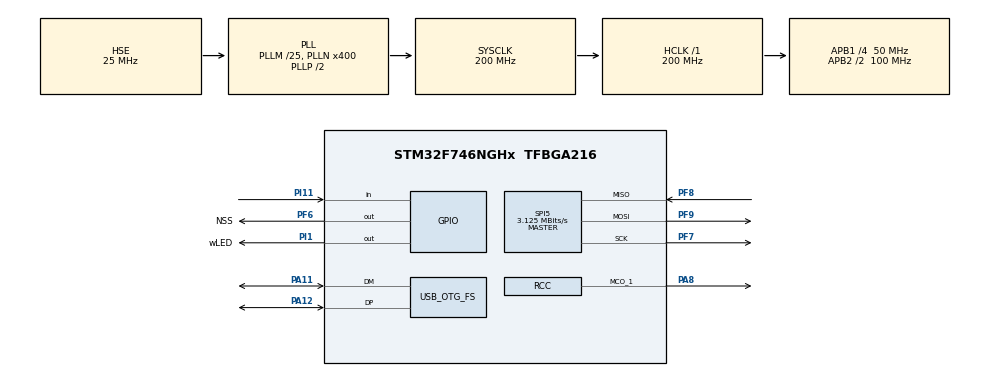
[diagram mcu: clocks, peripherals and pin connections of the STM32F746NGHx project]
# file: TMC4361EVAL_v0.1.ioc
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FREERTOS.Tasks01=defaultTask,0,128,StartDefaultTask,Default,NULL,Dynamic,NULL,NULL
Mcu.Family=STM32F7
Mcu.Name=STM32F746NGHx
Mcu.Package=TFBGA216
NVIC.OTG_FS_IRQn=true\:5\:0\:false\:false\:true\:true\:true\:true
NVIC.PriorityGroup=NVIC_PRIORITYGROUP_4
NVIC.TIM2_IRQn=true\:0\:0\:false\:false\:true\:false\:false\:true
NVIC.TimeBase=TIM2_IRQn
NVIC.TimeBaseIP=TIM2
PA11.Mode=Device_Only
PA11.Signal=USB_OTG_FS_DM
PA12.Mode=Device_Only
PA12.Signal=USB_OTG_FS_DP
PA8.Mode=Clock-out-1
PA8.Signal=RCC_MCO_1
PC14/OSC32_IN.Mode=LSE-External-Oscillator
PC14/OSC32_IN.Signal=RCC_OSC32_IN
PC15/OSC32_OUT.Mode=LSE-External-Oscillator
PC15/OSC32_OUT.Signal=RCC_OSC32_OUT
PF6.GPIO_Label=NSS
PF6.PinState=GPIO_PIN_SET
PF6.Signal=GPIO_Output
PF7.Mode=Full_Duplex_Master
PF7.Signal=SPI5_SCK
PF8.Mode=Full_Duplex_Master
PF8.Signal=SPI5_MISO
PF9.Mode=Full_Duplex_Master
PF9.Signal=SPI5_MOSI
PH0/OSC_IN.Mode=HSE-External-Oscillator
PH0/OSC_IN.Signal=RCC_OSC_IN
PH1/OSC_OUT.Mode=HSE-External-Oscillator
PH1/OSC_OUT.Signal=RCC_OSC_OUT
PI1.GPIO_Label=wLED
PI1.Signal=GPIO_Output
PI11.Signal=GPIO_Input
ProjectManager.HeapSize=0x2000
ProjectManager.StackSize=0x4000
ProjectManager.TargetToolchain=MDK-ARM V5
RCC.AHBFreq_Value=200000000
RCC.APB1CLKDivider=RCC_HCLK_DIV4
RCC.APB1Freq_Value=50000000
RCC.APB1TimFreq_Value=100000000
RCC.APB2CLKDivider=RCC_HCLK_DIV2
RCC.APB2Freq_Value=100000000
RCC.APB2TimFreq_Value=200000000
RCC.CortexFreq_Value=200000000
RCC.HCLKFreq_Value=200000000
RCC.HSE_VALUE=25000000
RCC.HSI_VALUE=16000000
RCC.PLL48CLockSelection=RCC_CLK48SOURCE_PLLSAIP
RCC.PLLI2SN=100
RCC.PLLM=25
RCC.PLLN=400
RCC.PLLQ=9
RCC.PLLSAIN=384
RCC.PLLSAIP=RCC_PLLSAIP_DIV8
RCC.PLLSAIR=5
RCC.PLLSAIRDiv=RCC_PLLSAIDIVR_8
RCC.SDMMCClockSelection=RCC_SDMMC1CLKSOURCE_CLK48
RCC.SYSCLKFreq_VALUE=200000000
RCC.SYSCLKSource=RCC_SYSCLKSOURCE_PLLCLK
RCC.USBFreq_Value=48000000
RCC.VCOOutputFreq_Value=400000000
SPI5.BaudRatePrescaler=SPI_BAUDRATEPRESCALER_32
SPI5.CalculateBaudRate=3.125 MBits/s
SPI5.DataSize=SPI_DATASIZE_8BIT
SPI5.Direction=SPI_DIRECTION_2LINES
SPI5.Mode=SPI_MODE_MASTER
SPI5.NSSPMode=SPI_NSS_PULSE_DISABLE
SPI5.VirtualType=VM_MASTER
USB_DEVICE.CLASS_NAME_FS=CDC
USB_DEVICE.VirtualMode-CDC_FS=Cdc
USB_DEVICE.VirtualModeFS=Cdc_FS
USB_OTG_FS.VirtualMode=Device_Only
VP_FREERTOS_VS_CMSIS_V1.Mode=CMSIS_V1
VP_SYS_VS_tim2.Mode=TIM2
VP_USB_DEVICE_VS_USB_DEVICE_CDC_FS.Mode=CDC_FS
board=STM32F746G-DISCO

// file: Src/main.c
/* USER CODE BEGIN Header */
/**
  ******************************************************************************
  * @file           : main.c
  * @brief          : Main program body
  ******************************************************************************
  * @attention
  *
  * <h2><center>&copy; Copyright (c) 2020 STMicroelectronics.
  * All rights reserved.</center></h2>
  *
  * This software component is licensed by ST under Ultimate Liberty license
  * SLA0044, the "License"; You may not use this file except in compliance with
  * the License. You may obtain a copy of the License at:
  *                             www.st.com/SLA0044
  *
  ******************************************************************************
  */
/* USER CODE END Header */

#include "main.h"
#include "cmsis_os.h"
#include "usb_device.h"

/* USER CODE BEGIN Includes */
#include "vTask_List.h"
/* USER CODE END Includes */

SPI_HandleTypeDef hspi5;

osThreadId defaultTaskHandle;
/* USER CODE BEGIN PV */
	uint8_t wTask_buff[48];
	uint8_t wCommand_buff [48];
	uint8_t wCommand_Task_buff [48];
	uint16_t wBufCount = 0;
  char wCnvt[48];

	//spi buffer
	uint8_t wTxData[5];
	uint8_t wRxData[5];

	//RTOS based variables
	QueueHandle_t xQueue1,xQueue2,xQueue3;
	TaskHandle_t wTask_LEDxHandle = NULL;
	TaskHandle_t wTask_USB_FSxHandle = NULL;
	TaskHandle_t wTask_MotorCtrHandle = NULL;
	TaskHandle_t wTask_CmdHandle_ = NULL;
	SemaphoreHandle_t xSemaphore;

/* USER CODE END PV */

void SystemClock_Config(void);
static void MX_GPIO_Init(void);
static void MX_SPI5_Init(void);
void StartDefaultTask(void const * argument);

int main(void)
{
  /* USER CODE BEGIN 1 */
	wTxData[0]=0x21;
	wTxData[1]=0x00;
	wTxData[2]=0x00;
	wTxData[3]=0x00;
	wTxData[4]=0x00;

  /* USER CODE END 1 */

  /* MCU Configuration--------------------------------------------------------*/

  /* Reset of all peripherals, Initializes the Flash interface and the Systick. */
  HAL_Init();

  /* Configure the system clock */
  SystemClock_Config();

  /* Initialize all configured peripherals */
  MX_GPIO_Init();
  MX_SPI5_Init();

  /* USER CODE BEGIN RTOS_SEMAPHORES */
  /* add semaphores, ... */
	   xSemaphore = xSemaphoreCreateMutex();

   if( xSemaphore == NULL )
   {
     		while(1)  // do not proceed
		{}
   }
  /* USER CODE END RTOS_SEMAPHORES */

  /* USER CODE BEGIN RTOS_QUEUES */
  /* add queues, ... */

	xQueue1 = xQueueCreate( 10, sizeof( wTask_buff) );

	if(xQueue1 == NULL)
	{
		while(1)  // do not proceed
		{}
	}

		xQueue2 = xQueueCreate( 10, sizeof( wTask_buff) );

	if(xQueue1 == NULL)
	{
		while(1)  // do not proceed
		{}
	}
  /* USER CODE END RTOS_QUEUES */

  /* Create the thread(s) */
  /* definition and creation of defaultTask */
  osThreadDef(defaultTask, StartDefaultTask, osPriorityNormal, 0, 128);
  defaultTaskHandle = osThreadCreate(osThread(defaultTask), NULL);

  /* USER CODE BEGIN RTOS_THREADS */
  /* add threads, ... */
	xTaskCreate(wTask_LED,"Task_LED" ,128 , NULL,osPriorityLow,&wTask_LEDxHandle);
	xTaskCreate(wTask_USB_FS,"Task_Vcom",128,NULL,osPriorityAboveNormal,&wTask_USB_FSxHandle);
	xTaskCreate(wTask_MotorCtr,"Task_MotorCrl",256,NULL,osPriorityAboveNormal,&wTask_MotorCtrHandle);
	xTaskCreate(wTask_CmdHandle,"Task_CmdHandler",256,NULL,osPriorityAboveNormal,&wTask_CmdHandle_);
  /* USER CODE END RTOS_THREADS */

  /* Start scheduler */
  osKernelStart();

  /* We should never get here as control is now taken by the scheduler */
  /* Infinite loop */
  while (1)
  {

  }
}

void SystemClock_Config(void)
{
  RCC_OscInitTypeDef RCC_OscInitStruct = {0};
  RCC_ClkInitTypeDef RCC_ClkInitStruct = {0};
  RCC_PeriphCLKInitTypeDef PeriphClkInitStruct = {0};

  /** Configure LSE Drive Capability
  */
  HAL_PWR_EnableBkUpAccess();
  /** Configure the main internal regulator output voltage
  */
  __HAL_RCC_PWR_CLK_ENABLE();
  __HAL_PWR_VOLTAGESCALING_CONFIG(PWR_REGULATOR_VOLTAGE_SCALE1);
  /** Initializes the CPU, AHB and APB busses clocks
  */
  RCC_OscInitStruct.OscillatorType = RCC_OSCILLATORTYPE_HSI|RCC_OSCILLATORTYPE_HSE;
  RCC_OscInitStruct.HSEState = RCC_HSE_ON;
  RCC_OscInitStruct.HSIState = RCC_HSI_ON;
  RCC_OscInitStruct.HSICalibrationValue = RCC_HSICALIBRATION_DEFAULT;
  RCC_OscInitStruct.PLL.PLLState = RCC_PLL_ON;
  RCC_OscInitStruct.PLL.PLLSource = RCC_PLLSOURCE_HSE;
  RCC_OscInitStruct.PLL.PLLM = 25;
  RCC_OscInitStruct.PLL.PLLN = 400;
  RCC_OscInitStruct.PLL.PLLP = RCC_PLLP_DIV2;
  RCC_OscInitStruct.PLL.PLLQ = 9;
  if (HAL_RCC_OscConfig(&RCC_OscInitStruct) != HAL_OK)
  {
    Error_Handler();
  }
  /** Activate the Over-Drive mode
  */
  if (HAL_PWREx_EnableOverDrive() != HAL_OK)
  {
    Error_Handler();
  }
  /** Initializes the CPU, AHB and APB busses clocks
  */
  RCC_ClkInitStruct.ClockType = RCC_CLOCKTYPE_HCLK|RCC_CLOCKTYPE_SYSCLK
                              |RCC_CLOCKTYPE_PCLK1|RCC_CLOCKTYPE_PCLK2;
  RCC_ClkInitStruct.SYSCLKSource = RCC_SYSCLKSOURCE_PLLCLK;
  RCC_ClkInitStruct.AHBCLKDivider = RCC_SYSCLK_DIV1;
  RCC_ClkInitStruct.APB1CLKDivider = RCC_HCLK_DIV4;
  RCC_ClkInitStruct.APB2CLKDivider = RCC_HCLK_DIV2;

  if (HAL_RCC_ClockConfig(&RCC_ClkInitStruct, FLASH_LATENCY_6) != HAL_OK)
  {
    Error_Handler();
  }
  PeriphClkInitStruct.PeriphClockSelection = RCC_PERIPHCLK_CLK48;
  PeriphClkInitStruct.PLLSAI.PLLSAIN = 384;
  PeriphClkInitStruct.PLLSAI.PLLSAIR = 5;
  PeriphClkInitStruct.PLLSAI.PLLSAIQ = 2;
  PeriphClkInitStruct.PLLSAI.PLLSAIP = RCC_PLLSAIP_DIV8;
  PeriphClkInitStruct.PLLSAIDivQ = 1;
  PeriphClkInitStruct.PLLSAIDivR = RCC_PLLSAIDIVR_8;
  PeriphClkInitStruct.Clk48ClockSelection = RCC_CLK48SOURCE_PLLSAIP;
  if (HAL_RCCEx_PeriphCLKConfig(&PeriphClkInitStruct) != HAL_OK)
  {
    Error_Handler();
  }
  HAL_RCC_MCOConfig(RCC_MCO1, RCC_MCO1SOURCE_HSI, RCC_MCODIV_1);
}

static void MX_SPI5_Init(void)
{

  /* SPI5 parameter configuration*/
  hspi5.Instance = SPI5;
  hspi5.Init.Mode = SPI_MODE_MASTER;
  hspi5.Init.Direction = SPI_DIRECTION_2LINES;
  hspi5.Init.DataSize = SPI_DATASIZE_8BIT;
  hspi5.Init.CLKPolarity = SPI_POLARITY_LOW;
  hspi5.Init.CLKPhase = SPI_PHASE_1EDGE;
  hspi5.Init.NSS = SPI_NSS_SOFT;
  hspi5.Init.BaudRatePrescaler = SPI_BAUDRATEPRESCALER_32;
  hspi5.Init.FirstBit = SPI_FIRSTBIT_MSB;
  hspi5.Init.TIMode = SPI_TIMODE_DISABLE;
  hspi5.Init.CRCCalculation = SPI_CRCCALCULATION_DISABLE;
  hspi5.Init.CRCPolynomial = 7;
  hspi5.Init.CRCLength = SPI_CRC_LENGTH_DATASIZE;
  hspi5.Init.NSSPMode = SPI_NSS_PULSE_DISABLE;
  if (HAL_SPI_Init(&hspi5) != HAL_OK)
  {
    Error_Handler();
  }

}

static void MX_GPIO_Init(void)
{
  GPIO_InitTypeDef GPIO_InitStruct = {0};

  /* GPIO Ports Clock Enable */
  __HAL_RCC_GPIOA_CLK_ENABLE();
  __HAL_RCC_GPIOI_CLK_ENABLE();
  __HAL_RCC_GPIOC_CLK_ENABLE();
  __HAL_RCC_GPIOH_CLK_ENABLE();
  __HAL_RCC_GPIOF_CLK_ENABLE();

  /*Configure GPIO pin Output Level */
  HAL_GPIO_WritePin(wLED_GPIO_Port, wLED_Pin, GPIO_PIN_RESET);

  /*Configure GPIO pin Output Level */
  HAL_GPIO_WritePin(NSS_GPIO_Port, NSS_Pin, GPIO_PIN_SET);

  /*Configure GPIO pin : wLED_Pin */
  GPIO_InitStruct.Pin = wLED_Pin;
  GPIO_InitStruct.Mode = GPIO_MODE_OUTPUT_PP;
  GPIO_InitStruct.Pull = GPIO_NOPULL;
  GPIO_InitStruct.Speed = GPIO_SPEED_FREQ_LOW;
  HAL_GPIO_Init(wLED_GPIO_Port, &GPIO_InitStruct);

  /*Configure GPIO pin : PI11 */
  GPIO_InitStruct.Pin = GPIO_PIN_11;
  GPIO_InitStruct.Mode = GPIO_MODE_INPUT;
  GPIO_InitStruct.Pull = GPIO_NOPULL;
  HAL_GPIO_Init(GPIOI, &GPIO_InitStruct);

  /*Configure GPIO pin : PA8 */
  GPIO_InitStruct.Pin = GPIO_PIN_8;
  GPIO_InitStruct.Mode = GPIO_MODE_AF_PP;
  GPIO_InitStruct.Pull = GPIO_NOPULL;
  GPIO_InitStruct.Speed = GPIO_SPEED_FREQ_LOW;
  GPIO_InitStruct.Alternate = GPIO_AF0_MCO;
  HAL_GPIO_Init(GPIOA, &GPIO_InitStruct);

  /*Configure GPIO pin : NSS_Pin */
  GPIO_InitStruct.Pin = NSS_Pin;
  GPIO_InitStruct.Mode = GPIO_MODE_OUTPUT_PP;
  GPIO_InitStruct.Pull = GPIO_NOPULL;
  GPIO_InitStruct.Speed = GPIO_SPEED_FREQ_LOW;
  HAL_GPIO_Init(NSS_GPIO_Port, &GPIO_InitStruct);

}

/* USER CODE BEGIN 4 */

void  CDC_ReceiveCallBack(uint8_t* Buf, uint32_t Len)
{
	if(*Buf == 0x0D)
	{
		if( xSemaphoreTakeFromISR( xSemaphore,NULL) == pdTRUE )
				{
					while(CDC_Transmit_FS((uint8_t *) "\r\n",2)!= USBD_OK){}

					memset(&wCommand_buff[wBufCount],0x0D,1);
					xQueueSendFromISR(xQueue2,wCommand_buff,NULL);
					wBufCount = 0;
					memset(wCommand_buff,0, 48);

					if( xSemaphoreGiveFromISR( xSemaphore,NULL) != pdTRUE ){}
				}
	}
	else if(*Buf == 0x7F)
	{
		wCommand_buff[wBufCount] = 0x00;
		wBufCount--;
	}
	else
	{
	wCommand_buff[wBufCount]=*Buf;
	wBufCount++;
	}
		xQueueSendFromISR(xQueue1,Buf,NULL);

}

/* USER CODE END 4 */

void StartDefaultTask(void const * argument)
{
  /* init code for USB_DEVICE */
  MX_USB_DEVICE_Init();
  for(;;)
  {
    osDelay(1);
  }
}

 /**
  * @brief  Period elapsed callback in non blocking mode
  * @note   This function is called  when TIM2 interrupt took place, inside
  * HAL_TIM_IRQHandler(). It makes a direct call to HAL_IncTick() to increment
  * a global variable "uwTick" used as application time base.
  * @param  htim : TIM handle
  * @retval None
  */
void HAL_TIM_PeriodElapsedCallback(TIM_HandleTypeDef *htim)
{
  if (htim->Instance == TIM2) {
    HAL_IncTick();
  }
}

void Error_Handler(void)
{
}

/************************ (C) COPYRIGHT STMicroelectronics *****END OF FILE****/
